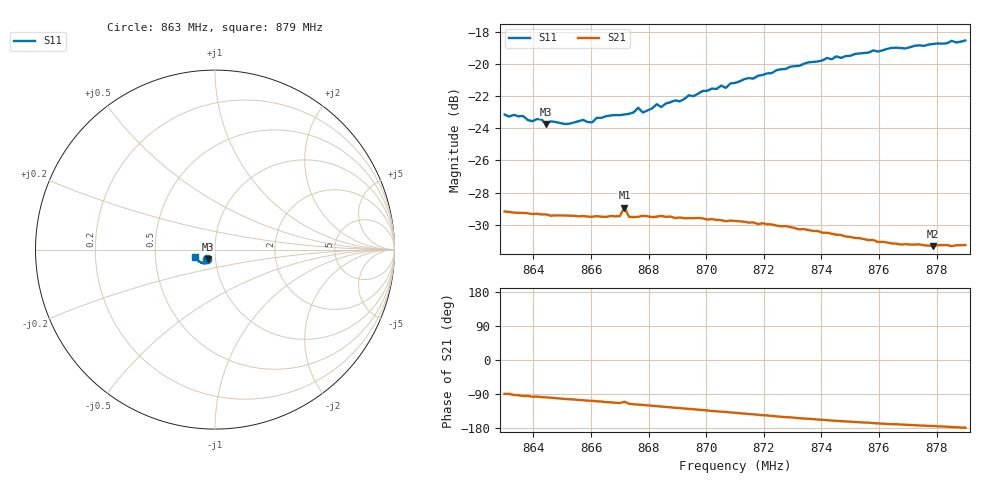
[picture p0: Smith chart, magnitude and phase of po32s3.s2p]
# HZ S RI R 50
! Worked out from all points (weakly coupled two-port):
!   101 points, 863 MHz to 879 MHz, reference 50 ohm
!   highest |S21| = -28.94 dB at 867.16 MHz (marker M1); lowest = -31.3 dB at 877.88 MHz (marker M2)
!   lowest |S11| = -23.7 dB at 864.44 MHz (marker M3), VSWR 1.14, Z = 46.1 - j4.91 ohm
!   |S11| at or under -10 dB: start of sweep to end of sweep
!   S12 and S22 are empty: the file has one direction only
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8.63e8  -0.0444 -0.0537  0.000445 -0.0347  0 0  0 0
8.6364e8  -0.0442 -0.053  -0.00299 -0.0343  0 0  0 0
8.6396e8  -0.0407 -0.0525  -0.00417 -0.0339  0 0  0 0
8.6428e8  -0.0392 -0.0547  -0.00464 -0.0337  0 0  0 0
8.6444e8  -0.0376 -0.053  -0.00513 -0.0337  0 0  0 0
8.6572e8  -0.035 -0.0572  -0.00938 -0.0323  0 0  0 0
8.6604e8  -0.034 -0.0564  -0.0102 -0.0319  0 0  0 0
8.662e8  -0.0358 -0.0579  -0.0109 -0.0318  0 0  0 0
8.67e8  -0.0351 -0.0598  -0.0135 -0.0308  0 0  0 0
8.6716e8  -0.0272 -0.0642  -0.0122 -0.0336  0 0  0 0
8.6732e8  -0.0337 -0.0614  -0.0144 -0.0302  0 0  0 0
8.6764e8  -0.0358 -0.0638  -0.0155 -0.0296  0 0  0 0
8.678e8  -0.034 -0.062  -0.0161 -0.0296  0 0  0 0
8.6828e8  -0.0358 -0.066  -0.0176 -0.0285  0 0  0 0
8.6844e8  -0.035 -0.0646  -0.0183 -0.0283  0 0  0 0
8.694e8  -0.0401 -0.0693  -0.0209 -0.0257  0 0  0 0
8.7068e8  -0.0437 -0.0722  -0.0237 -0.022  0 0  0 0
8.71e8  -0.0474 -0.0735  -0.0245 -0.0212  0 0  0 0
8.7372e8  -0.068 -0.0756  -0.0276 -0.0123  0 0  0 0
8.7644e8  -0.0938 -0.062  -0.0271 -0.00507  0 0  0 0
8.7788e8  -0.1041 -0.0505  -0.0269 -0.00276  0 0  0 0
8.79e8  -0.1117 -0.0399  -0.0273 -0.000687  0 0  0 0
